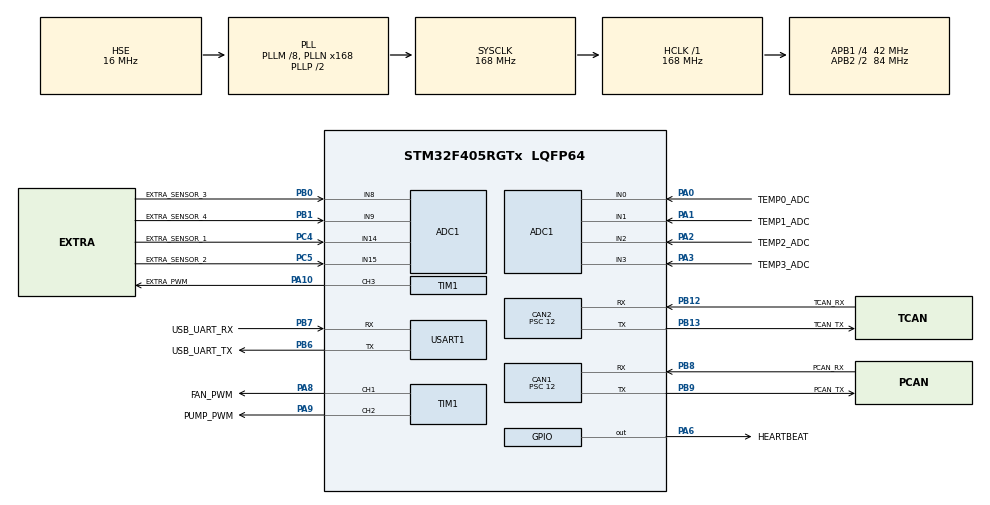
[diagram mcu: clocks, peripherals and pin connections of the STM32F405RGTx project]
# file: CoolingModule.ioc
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ADC1.Channel-0\#ChannelRegularConversion=ADC_CHANNEL_0
ADC1.Channel-1\#ChannelRegularConversion=ADC_CHANNEL_1
ADC1.Channel-2\#ChannelRegularConversion=ADC_CHANNEL_2
ADC1.Channel-3\#ChannelRegularConversion=ADC_CHANNEL_3
ADC1.ContinuousConvMode=DISABLE
ADC1.DMAContinuousRequests=ENABLE
ADC1.NbrOfConversion=4
ADC1.NbrOfConversionFlag=1
ADC1.Rank-0\#ChannelRegularConversion=1
ADC1.Rank-1\#ChannelRegularConversion=2
ADC1.Rank-2\#ChannelRegularConversion=3
ADC1.Rank-3\#ChannelRegularConversion=4
ADC1.SamplingTime-0\#ChannelRegularConversion=ADC_SAMPLETIME_3CYCLES
ADC1.SamplingTime-1\#ChannelRegularConversion=ADC_SAMPLETIME_3CYCLES
ADC1.SamplingTime-2\#ChannelRegularConversion=ADC_SAMPLETIME_3CYCLES
ADC1.SamplingTime-3\#ChannelRegularConversion=ADC_SAMPLETIME_3CYCLES
ADC1.ScanConvMode=ENABLE
ADC1.master=1
CAN1.BS1=CAN_BS1_3TQ
CAN1.BS2=CAN_BS2_3TQ
CAN1.CalculateBaudRate=500000
CAN1.CalculateTimeBit=2000
CAN1.CalculateTimeQuantum=285.7142857142857
CAN1.Mode=CAN_MODE_NORMAL
CAN1.Prescaler=12
CAN2.BS1=CAN_BS1_3TQ
CAN2.BS2=CAN_BS2_3TQ
CAN2.CalculateBaudRate=500000
CAN2.CalculateTimeBit=2000
CAN2.CalculateTimeQuantum=285.7142857142857
CAN2.Prescaler=12
Dma.ADC1.0.Direction=DMA_PERIPH_TO_MEMORY
Dma.ADC1.0.FIFOMode=DMA_FIFOMODE_DISABLE
Dma.ADC1.0.Instance=DMA2_Stream0
Dma.ADC1.0.MemDataAlignment=DMA_MDATAALIGN_HALFWORD
Dma.ADC1.0.MemInc=DMA_MINC_ENABLE
Dma.ADC1.0.Mode=DMA_CIRCULAR
Dma.ADC1.0.PeriphDataAlignment=DMA_PDATAALIGN_HALFWORD
Dma.ADC1.0.PeriphInc=DMA_PINC_DISABLE
Dma.ADC1.0.Priority=DMA_PRIORITY_LOW
Dma.Request0=ADC1
Mcu.Family=STM32F4
Mcu.Name=STM32F405RGTx
Mcu.Package=LQFP64
NVIC.ADC_IRQn=true\:0\:0\:false\:false\:true\:true\:true\:true
NVIC.CAN1_RX0_IRQn=true\:0\:0\:false\:false\:true\:true\:true\:true
NVIC.DMA2_Stream0_IRQn=true\:0\:0\:false\:false\:true\:false\:true\:true
NVIC.PriorityGroup=NVIC_PRIORITYGROUP_4
NVIC.TIM2_IRQn=true\:0\:0\:false\:false\:true\:true\:true\:true
PA0-WKUP.GPIO_Label=TEMP0_ADC
PA0-WKUP.Signal=ADCx_IN0
PA1.GPIO_Label=TEMP1_ADC
PA1.Signal=ADCx_IN1
PA10.GPIO_Label=EXTRA_PWM
PA10.Signal=S_TIM1_CH3
PA13.Mode=Serial_Wire
PA13.Signal=SYS_JTMS-SWDIO
PA14.Mode=Serial_Wire
PA14.Signal=SYS_JTCK-SWCLK
PA15.Signal=SYS_JTDI
PA2.GPIO_Label=TEMP2_ADC
PA2.Signal=ADCx_IN2
PA3.GPIO_Label=TEMP3_ADC
PA3.Signal=ADCx_IN3
PA6.GPIO_Label=HEARTBEAT
PA6.Signal=GPIO_Output
PA8.GPIO_Label=FAN_PWM
PA8.Signal=S_TIM1_CH1
PA9.GPIO_Label=PUMP_PWM
PA9.Signal=S_TIM1_CH2
PB0.GPIO_Label=EXTRA_SENSOR_3
PB0.Signal=ADCx_IN8
PB1.GPIO_Label=EXTRA_SENSOR_4
PB1.Signal=ADCx_IN9
PB12.GPIO_Label=TCAN_RX
PB12.Mode=CAN_Activate
PB12.Signal=CAN2_RX
PB13.GPIO_Label=TCAN_TX
PB13.Mode=CAN_Activate
PB13.Signal=CAN2_TX
PB3.Signal=SYS_JTDO-SWO
PB6.GPIO_Label=USB_UART_TX
PB6.Mode=Asynchronous
PB6.Signal=USART1_TX
PB7.GPIO_Label=USB_UART_RX
PB7.Mode=Asynchronous
PB7.Signal=USART1_RX
PB8.GPIO_Label=PCAN_RX
PB8.Mode=CAN_Activate
PB8.Signal=CAN1_RX
PB9.GPIO_Label=PCAN_TX
PB9.Mode=CAN_Activate
PB9.Signal=CAN1_TX
PC4.GPIO_Label=EXTRA_SENSOR_1
PC4.Signal=ADCx_IN14
PC5.GPIO_Label=EXTRA_SENSOR_2
PC5.Signal=ADCx_IN15
PH0-OSC_IN.Mode=HSE-External-Oscillator
PH0-OSC_IN.Signal=RCC_OSC_IN
PH1-OSC_OUT.Mode=HSE-External-Oscillator
PH1-OSC_OUT.Signal=RCC_OSC_OUT
ProjectManager.HeapSize=0x200
ProjectManager.StackSize=0x400
ProjectManager.TargetToolchain=STM32CubeIDE
RCC.48MHZClocksFreq_Value=84000000
RCC.AHBFreq_Value=168000000
RCC.APB1CLKDivider=RCC_HCLK_DIV4
RCC.APB1Freq_Value=42000000
RCC.APB1TimFreq_Value=84000000
RCC.APB2CLKDivider=RCC_HCLK_DIV2
RCC.APB2Freq_Value=84000000
RCC.APB2TimFreq_Value=168000000
RCC.CortexFreq_Value=168000000
RCC.HCLKFreq_Value=168000000
RCC.HSE_VALUE=16000000
RCC.HSI_VALUE=16000000
RCC.LSE_VALUE=32768
RCC.PLLM=8
RCC.PLLN=168
RCC.PLLSourceVirtual=RCC_PLLSOURCE_HSE
RCC.SYSCLKFreq_VALUE=168000000
RCC.SYSCLKSource=RCC_SYSCLKSOURCE_PLLCLK
RCC.VCOOutputFreq_Value=336000000
SH.ADCx_IN0.0=ADC1_IN0,IN0
SH.ADCx_IN1.0=ADC1_IN1,IN1
SH.ADCx_IN14.0=ADC1_IN14,IN14
SH.ADCx_IN15.0=ADC1_IN15,IN15
SH.ADCx_IN2.0=ADC1_IN2,IN2
SH.ADCx_IN3.0=ADC1_IN3,IN3
SH.ADCx_IN8.0=ADC1_IN8,IN8
SH.ADCx_IN9.0=ADC1_IN9,IN9
SH.S_TIM1_CH1.0=TIM1_CH1,PWM Generation1 CH1
SH.S_TIM1_CH2.0=TIM1_CH2,PWM Generation2 CH2
SH.S_TIM1_CH3.0=TIM1_CH3,PWM Generation3 CH3
TIM1.Channel-PWM\ Generation1\ CH1=TIM_CHANNEL_1
TIM1.Channel-PWM\ Generation2\ CH2=TIM_CHANNEL_2
TIM1.Channel-PWM\ Generation3\ CH3=TIM_CHANNEL_3
TIM2.Period=999
TIM2.Prescaler=71
USART1.VirtualMode=VM_ASYNC
VP_TIM2_VS_ClockSourceINT.Mode=Internal
board=custom

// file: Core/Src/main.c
/* USER CODE BEGIN Header */
/**
  ******************************************************************************
  * @file           : main.c
  * @brief          : Main program body
  ******************************************************************************
  * @attention
  *
  * Copyright (c) 2025 STMicroelectronics.
  * All rights reserved.
  *
  * This software is licensed under terms that can be found in the LICENSE file
  * in the root directory of this software component.
  * If no LICENSE file comes with this software, it is provided AS-IS.
  *
  ******************************************************************************
  */
/* USER CODE END Header */
#include "main.h"

/* USER CODE BEGIN Includes */
#include "can_manager.h"
#include "cooling.h"
/* USER CODE END Includes */

/* USER CODE BEGIN PD */

// assuming a PSC of 8399, each timer tick will be 0.1 ms
// 	e.g. delay = 2000 ticks, 2000 * 0.1ms = 200ms
// 	frequency would be 5 Hz
#define CAN_SEND_DELAY 2000
#define ADC_CONV_DELAY 2000
/* USER CODE END PD */

ADC_HandleTypeDef hadc1;
DMA_HandleTypeDef hdma_adc1;

CAN_HandleTypeDef hcan1;
CAN_HandleTypeDef hcan2;

TIM_HandleTypeDef htim1;
TIM_HandleTypeDef htim2;

UART_HandleTypeDef huart1;

void SystemClock_Config(void);
static void MX_GPIO_Init(void);
static void MX_DMA_Init(void);
static void MX_CAN1_Init(void);
static void MX_CAN2_Init(void);
static void MX_ADC1_Init(void);
static void MX_TIM1_Init(void);
static void MX_USART1_UART_Init(void);
static void MX_TIM2_Init(void);

/* USER CODE BEGIN 0 */
uint16_t ADC_RES_BUFFER[4];
	// 4 channels:
	// [0] = inlet_temp (temp0)
	// [1] = outlet_temp (temp1)
	// [2] = air_in_temp (temp2)
	// [3] = air_out_temp (temp3)

/* USER CODE END 0 */

int main(void)
{

  /* MCU Configuration--------------------------------------------------------*/

  /* Reset of all peripherals, Initializes the Flash interface and the Systick. */
  HAL_Init();

  /* Configure the system clock */
  SystemClock_Config();

  /* Initialize all configured peripherals */
  MX_GPIO_Init();
  MX_DMA_Init();
  MX_CAN1_Init();
  MX_CAN2_Init();
  MX_ADC1_Init();
  MX_TIM1_Init();
  MX_USART1_UART_Init();
  MX_TIM2_Init();
  /* USER CODE BEGIN 2 */
  HAL_TIM_Base_Start(&htim2); // TIM2 is for sensor timing

  CAN_Filter_Init(); // hcan1 is PCAN, hcan2 is TCAN

  Cooling_Init();

  /* USER CODE END 2 */

  /* Infinite loop */
  while (1)
  {

    /* USER CODE BEGIN 3 */
	  Cooling_Update();

	  // update the ADC readings
	  for (int i = 0; i < NUM_ADC_CHANNELS; i++) {

		  if (adc_channels[i].flag == 1) {
			  // prepare new conversion settings
			  ADC_ChannelConfTypeDef sConfig = {0};
			  sConfig.Channel = adc_channels[i].channel_number;
			  sConfig.Rank = 1; // always Rank 1 since Scan Mode is Disabled
			  sConfig.SamplingTime = ADC_SAMPLETIME_56CYCLES;
			  HAL_ADC_ConfigChannel(&hadc1, &sConfig);

			  //cycle the ADC State Machine to apply settings
			  HAL_ADC_Start(&hadc1);

			  // block for ~5 microseconds until conversion finishes
			  if (HAL_ADC_PollForConversion(&hadc1, 10) == HAL_OK) {
			  	  adc_channels[i].adc_value = HAL_ADC_GetValue(&hadc1); // save the fresh data
			  }

			  HAL_ADC_Stop(&hadc1); // turn off state machine until next flag hits
		  }

	  }

	  // send sensor readings over TCAN
	  Sensor_Update(&hcan2);

	  HAL_GPIO_TogglePin(HEARTBEAT_GPIO_Port, HEARTBEAT_Pin);

  }
  /* USER CODE END 3 */
}

void SystemClock_Config(void)
{
  RCC_OscInitTypeDef RCC_OscInitStruct = {0};
  RCC_ClkInitTypeDef RCC_ClkInitStruct = {0};

  /** Configure the main internal regulator output voltage
  */
  __HAL_RCC_PWR_CLK_ENABLE();
  __HAL_PWR_VOLTAGESCALING_CONFIG(PWR_REGULATOR_VOLTAGE_SCALE1);

  /** Initializes the RCC Oscillators according to the specified parameters
  * in the RCC_OscInitTypeDef structure.
  */
  RCC_OscInitStruct.OscillatorType = RCC_OSCILLATORTYPE_HSE;
  RCC_OscInitStruct.HSEState = RCC_HSE_ON;
  RCC_OscInitStruct.PLL.PLLState = RCC_PLL_ON;
  RCC_OscInitStruct.PLL.PLLSource = RCC_PLLSOURCE_HSE;
  RCC_OscInitStruct.PLL.PLLM = 8;
  RCC_OscInitStruct.PLL.PLLN = 168;
  RCC_OscInitStruct.PLL.PLLP = RCC_PLLP_DIV2;
  RCC_OscInitStruct.PLL.PLLQ = 4;
  if (HAL_RCC_OscConfig(&RCC_OscInitStruct) != HAL_OK)
  {
    Error_Handler();
  }

  /** Initializes the CPU, AHB and APB buses clocks
  */
  RCC_ClkInitStruct.ClockType = RCC_CLOCKTYPE_HCLK|RCC_CLOCKTYPE_SYSCLK
                              |RCC_CLOCKTYPE_PCLK1|RCC_CLOCKTYPE_PCLK2;
  RCC_ClkInitStruct.SYSCLKSource = RCC_SYSCLKSOURCE_PLLCLK;
  RCC_ClkInitStruct.AHBCLKDivider = RCC_SYSCLK_DIV1;
  RCC_ClkInitStruct.APB1CLKDivider = RCC_HCLK_DIV4;
  RCC_ClkInitStruct.APB2CLKDivider = RCC_HCLK_DIV2;

  if (HAL_RCC_ClockConfig(&RCC_ClkInitStruct, FLASH_LATENCY_5) != HAL_OK)
  {
    Error_Handler();
  }
}

static void MX_ADC1_Init(void)
{

  ADC_ChannelConfTypeDef sConfig = {0};

  /** Configure the global features of the ADC (Clock, Resolution, Data Alignment and number of conversion)
  */
  hadc1.Instance = ADC1;
  hadc1.Init.ClockPrescaler = ADC_CLOCK_SYNC_PCLK_DIV4;
  hadc1.Init.Resolution = ADC_RESOLUTION_12B;
  hadc1.Init.ScanConvMode = ENABLE;
  hadc1.Init.ContinuousConvMode = DISABLE;
  hadc1.Init.DiscontinuousConvMode = DISABLE;
  hadc1.Init.ExternalTrigConvEdge = ADC_EXTERNALTRIGCONVEDGE_NONE;
  hadc1.Init.ExternalTrigConv = ADC_SOFTWARE_START;
  hadc1.Init.DataAlign = ADC_DATAALIGN_RIGHT;
  hadc1.Init.NbrOfConversion = 4;
  hadc1.Init.DMAContinuousRequests = ENABLE;
  hadc1.Init.EOCSelection = ADC_EOC_SINGLE_CONV;
  if (HAL_ADC_Init(&hadc1) != HAL_OK)
  {
    Error_Handler();
  }

  /** Configure for the selected ADC regular channel its corresponding rank in the sequencer and its sample time.
  */
  sConfig.Channel = ADC_CHANNEL_0;
  sConfig.Rank = 1;
  sConfig.SamplingTime = ADC_SAMPLETIME_3CYCLES;
  if (HAL_ADC_ConfigChannel(&hadc1, &sConfig) != HAL_OK)
  {
    Error_Handler();
  }

  /** Configure for the selected ADC regular channel its corresponding rank in the sequencer and its sample time.
  */
  sConfig.Channel = ADC_CHANNEL_1;
  sConfig.Rank = 2;
  if (HAL_ADC_ConfigChannel(&hadc1, &sConfig) != HAL_OK)
  {
    Error_Handler();
  }

  /** Configure for the selected ADC regular channel its corresponding rank in the sequencer and its sample time.
  */
  sConfig.Channel = ADC_CHANNEL_2;
  sConfig.Rank = 3;
  if (HAL_ADC_ConfigChannel(&hadc1, &sConfig) != HAL_OK)
  {
    Error_Handler();
  }

  /** Configure for the selected ADC regular channel its corresponding rank in the sequencer and its sample time.
  */
  sConfig.Channel = ADC_CHANNEL_3;
  sConfig.Rank = 4;
  if (HAL_ADC_ConfigChannel(&hadc1, &sConfig) != HAL_OK)
  {
    Error_Handler();
  }

}

static void MX_CAN1_Init(void)
{

  hcan1.Instance = CAN1;
  hcan1.Init.Prescaler = 12;
  hcan1.Init.Mode = CAN_MODE_NORMAL;
  hcan1.Init.SyncJumpWidth = CAN_SJW_1TQ;
  hcan1.Init.TimeSeg1 = CAN_BS1_3TQ;
  hcan1.Init.TimeSeg2 = CAN_BS2_3TQ;
  hcan1.Init.TimeTriggeredMode = DISABLE;
  hcan1.Init.AutoBusOff = DISABLE;
  hcan1.Init.AutoWakeUp = DISABLE;
  hcan1.Init.AutoRetransmission = DISABLE;
  hcan1.Init.ReceiveFifoLocked = DISABLE;
  hcan1.Init.TransmitFifoPriority = DISABLE;
  if (HAL_CAN_Init(&hcan1) != HAL_OK)
  {
    Error_Handler();
  }

}

static void MX_CAN2_Init(void)
{

  hcan2.Instance = CAN2;
  hcan2.Init.Prescaler = 12;
  hcan2.Init.Mode = CAN_MODE_NORMAL;
  hcan2.Init.SyncJumpWidth = CAN_SJW_1TQ;
  hcan2.Init.TimeSeg1 = CAN_BS1_3TQ;
  hcan2.Init.TimeSeg2 = CAN_BS2_3TQ;
  hcan2.Init.TimeTriggeredMode = DISABLE;
  hcan2.Init.AutoBusOff = DISABLE;
  hcan2.Init.AutoWakeUp = DISABLE;
  hcan2.Init.AutoRetransmission = DISABLE;
  hcan2.Init.ReceiveFifoLocked = DISABLE;
  hcan2.Init.TransmitFifoPriority = DISABLE;
  if (HAL_CAN_Init(&hcan2) != HAL_OK)
  {
    Error_Handler();
  }

}

static void MX_TIM1_Init(void)
{

  TIM_MasterConfigTypeDef sMasterConfig = {0};
  TIM_OC_InitTypeDef sConfigOC = {0};
  TIM_BreakDeadTimeConfigTypeDef sBreakDeadTimeConfig = {0};

  htim1.Instance = TIM1;
  htim1.Init.Prescaler = 0;
  htim1.Init.CounterMode = TIM_COUNTERMODE_UP;
  htim1.Init.Period = 65535;
  htim1.Init.ClockDivision = TIM_CLOCKDIVISION_DIV1;
  htim1.Init.RepetitionCounter = 0;
  htim1.Init.AutoReloadPreload = TIM_AUTORELOAD_PRELOAD_DISABLE;
  if (HAL_TIM_PWM_Init(&htim1) != HAL_OK)
  {
    Error_Handler();
  }
  sMasterConfig.MasterOutputTrigger = TIM_TRGO_RESET;
  sMasterConfig.MasterSlaveMode = TIM_MASTERSLAVEMODE_DISABLE;
  if (HAL_TIMEx_MasterConfigSynchronization(&htim1, &sMasterConfig) != HAL_OK)
  {
    Error_Handler();
  }
  sConfigOC.OCMode = TIM_OCMODE_PWM1;
  sConfigOC.Pulse = 0;
  sConfigOC.OCPolarity = TIM_OCPOLARITY_HIGH;
  sConfigOC.OCNPolarity = TIM_OCNPOLARITY_HIGH;
  sConfigOC.OCFastMode = TIM_OCFAST_DISABLE;
  sConfigOC.OCIdleState = TIM_OCIDLESTATE_RESET;
  sConfigOC.OCNIdleState = TIM_OCNIDLESTATE_RESET;
  if (HAL_TIM_PWM_ConfigChannel(&htim1, &sConfigOC, TIM_CHANNEL_1) != HAL_OK)
  {
    Error_Handler();
  }
  if (HAL_TIM_PWM_ConfigChannel(&htim1, &sConfigOC, TIM_CHANNEL_2) != HAL_OK)
  {
    Error_Handler();
  }
  if (HAL_TIM_PWM_ConfigChannel(&htim1, &sConfigOC, TIM_CHANNEL_3) != HAL_OK)
  {
    Error_Handler();
  }
  sBreakDeadTimeConfig.OffStateRunMode = TIM_OSSR_DISABLE;
  sBreakDeadTimeConfig.OffStateIDLEMode = TIM_OSSI_DISABLE;
  sBreakDeadTimeConfig.LockLevel = TIM_LOCKLEVEL_OFF;
  sBreakDeadTimeConfig.DeadTime = 0;
  sBreakDeadTimeConfig.BreakState = TIM_BREAK_DISABLE;
  sBreakDeadTimeConfig.BreakPolarity = TIM_BREAKPOLARITY_HIGH;
  sBreakDeadTimeConfig.AutomaticOutput = TIM_AUTOMATICOUTPUT_DISABLE;
  if (HAL_TIMEx_ConfigBreakDeadTime(&htim1, &sBreakDeadTimeConfig) != HAL_OK)
  {
    Error_Handler();
  }
  HAL_TIM_MspPostInit(&htim1);

}

static void MX_TIM2_Init(void)
{

  TIM_ClockConfigTypeDef sClockSourceConfig = {0};
  TIM_MasterConfigTypeDef sMasterConfig = {0};

  htim2.Instance = TIM2;
  htim2.Init.Prescaler = 71;
  htim2.Init.CounterMode = TIM_COUNTERMODE_UP;
  htim2.Init.Period = 999;
  htim2.Init.ClockDivision = TIM_CLOCKDIVISION_DIV1;
  htim2.Init.AutoReloadPreload = TIM_AUTORELOAD_PRELOAD_DISABLE;
  if (HAL_TIM_Base_Init(&htim2) != HAL_OK)
  {
    Error_Handler();
  }
  sClockSourceConfig.ClockSource = TIM_CLOCKSOURCE_INTERNAL;
  if (HAL_TIM_ConfigClockSource(&htim2, &sClockSourceConfig) != HAL_OK)
  {
    Error_Handler();
  }
  sMasterConfig.MasterOutputTrigger = TIM_TRGO_RESET;
  sMasterConfig.MasterSlaveMode = TIM_MASTERSLAVEMODE_DISABLE;
  if (HAL_TIMEx_MasterConfigSynchronization(&htim2, &sMasterConfig) != HAL_OK)
  {
    Error_Handler();
  }

}

static void MX_USART1_UART_Init(void)
{

  huart1.Instance = USART1;
  huart1.Init.BaudRate = 115200;
  huart1.Init.WordLength = UART_WORDLENGTH_8B;
  huart1.Init.StopBits = UART_STOPBITS_1;
  huart1.Init.Parity = UART_PARITY_NONE;
  huart1.Init.Mode = UART_MODE_TX_RX;
  huart1.Init.HwFlowCtl = UART_HWCONTROL_NONE;
  huart1.Init.OverSampling = UART_OVERSAMPLING_16;
  if (HAL_UART_Init(&huart1) != HAL_OK)
  {
    Error_Handler();
  }

}

static void MX_DMA_Init(void)
{

  /* DMA controller clock enable */
  __HAL_RCC_DMA2_CLK_ENABLE();

  /* DMA interrupt init */
  /* DMA2_Stream0_IRQn interrupt configuration */
  HAL_NVIC_SetPriority(DMA2_Stream0_IRQn, 0, 0);
  HAL_NVIC_EnableIRQ(DMA2_Stream0_IRQn);

}

static void MX_GPIO_Init(void)
{
  GPIO_InitTypeDef GPIO_InitStruct = {0};

  /* GPIO Ports Clock Enable */
  __HAL_RCC_GPIOH_CLK_ENABLE();
  __HAL_RCC_GPIOA_CLK_ENABLE();
  __HAL_RCC_GPIOC_CLK_ENABLE();
  __HAL_RCC_GPIOB_CLK_ENABLE();

  /*Configure GPIO pin Output Level */
  HAL_GPIO_WritePin(HEARTBEAT_GPIO_Port, HEARTBEAT_Pin, GPIO_PIN_RESET);

  /*Configure GPIO pin : HEARTBEAT_Pin */
  GPIO_InitStruct.Pin = HEARTBEAT_Pin;
  GPIO_InitStruct.Mode = GPIO_MODE_OUTPUT_PP;
  GPIO_InitStruct.Pull = GPIO_NOPULL;
  GPIO_InitStruct.Speed = GPIO_SPEED_FREQ_LOW;
  HAL_GPIO_Init(HEARTBEAT_GPIO_Port, &GPIO_InitStruct);

}

void Error_Handler(void)
{
  __disable_irq();
  while (1)
  {
  }
}
